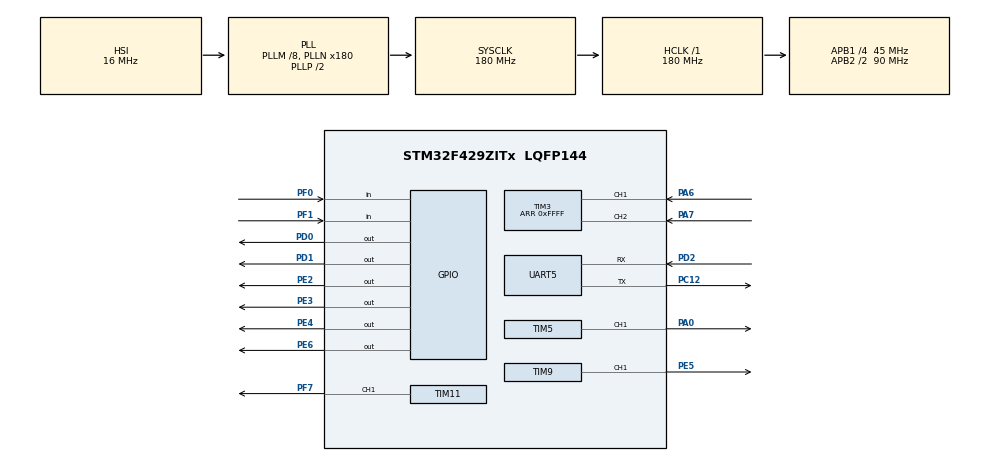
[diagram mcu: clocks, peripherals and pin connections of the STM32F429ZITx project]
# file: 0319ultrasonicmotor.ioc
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Mcu.Family=STM32F4
Mcu.Name=STM32F429ZITx
Mcu.Package=LQFP144
NVIC.PriorityGroup=NVIC_PRIORITYGROUP_4
NVIC.TIM1_BRK_TIM9_IRQn=true\:0\:0\:false\:false\:true\:true\:true\:true
PA0/WKUP.Signal=S_TIM5_CH1
PA6.Signal=S_TIM3_CH1
PA7.Signal=S_TIM3_CH2
PC12.Mode=Asynchronous
PC12.Signal=UART5_TX
PC14/OSC32_IN.Mode=LSE-External-Oscillator
PC14/OSC32_IN.Signal=RCC_OSC32_IN
PC15/OSC32_OUT.Mode=LSE-External-Oscillator
PC15/OSC32_OUT.Signal=RCC_OSC32_OUT
PD0.Signal=GPIO_Output
PD1.Signal=GPIO_Output
PD2.Mode=Asynchronous
PD2.Signal=UART5_RX
PE2.GPIO_Speed=GPIO_SPEED_FREQ_VERY_HIGH
PE2.Signal=GPIO_Output
PE3.GPIO_Speed=GPIO_SPEED_FREQ_VERY_HIGH
PE3.Signal=GPIO_Output
PE4.GPIO_Speed=GPIO_SPEED_FREQ_VERY_HIGH
PE4.PinState=GPIO_PIN_RESET
PE4.Signal=GPIO_Output
PE5.Signal=S_TIM9_CH1
PE6.GPIO_Speed=GPIO_SPEED_FREQ_VERY_HIGH
PE6.Signal=GPIO_Output
PF0.Signal=GPIO_Input
PF1.Signal=GPIO_Input
PF7.Signal=S_TIM11_CH1
ProjectManager.HeapSize=0x200
ProjectManager.StackSize=0x400
ProjectManager.TargetToolchain=MDK-ARM V5.32
RCC.48MHZClocksFreq_Value=51428571.428571425
RCC.AHBFreq_Value=180000000
RCC.APB1CLKDivider=RCC_HCLK_DIV4
RCC.APB1Freq_Value=45000000
RCC.APB1TimFreq_Value=90000000
RCC.APB2CLKDivider=RCC_HCLK_DIV2
RCC.APB2Freq_Value=90000000
RCC.APB2TimCLKDivider=2
RCC.APB2TimFreq_Value=180000000
RCC.CortexFreq_Value=180000000
RCC.HCLKFreq_Value=180000000
RCC.HSE_VALUE=8000000
RCC.HSI_VALUE=16000000
RCC.PLLM=8
RCC.PLLMUL=RCC_PLL_MUL9
RCC.PLLN=180
RCC.PLLQ=7
RCC.PRESCALERUSB=RCC_USBCLKSOURCE_PLL_DIV1_5
RCC.SYSCLKFreq_VALUE=180000000
RCC.SYSCLKSource=RCC_SYSCLKSOURCE_PLLCLK
RCC.SYSCLKSourceVirtual=RCC_SYSCLKSOURCE_PLLCLK
RCC.USBFreq_Value=48000000
RCC.VCOOutputFreq_Value=360000000
SH.S_TIM11_CH1.0=TIM11_CH1,PWM Generation1 CH1
SH.S_TIM3_CH1.0=TIM3_CH1,Encoder_Interface
SH.S_TIM3_CH2.0=TIM3_CH2,Encoder_Interface
SH.S_TIM5_CH1.0=TIM5_CH1,PWM Generation1 CH1
SH.S_TIM9_CH1.0=TIM9_CH1,PWM Generation1 CH1
TIM11.Channel=TIM_CHANNEL_1
TIM11.Prescaler=84-1
TIM3.EncoderMode=TIM_ENCODERMODE_TI12
TIM3.IC1Filter=5
TIM3.IC2Filter=5
TIM3.Period=0xFFFF
TIM5.Channel-PWM\ Generation1\ CH1=TIM_CHANNEL_1
TIM5.Period=10000-1
TIM5.Prescaler=84-1
TIM5.Pulse-PWM\ Generation1\ CH1=5000
TIM9.AutoReloadPreload=TIM_AUTORELOAD_PRELOAD_DISABLE
TIM9.Channel-PWM\ Generation1\ CH1=TIM_CHANNEL_1
TIM9.Period=10000-1
TIM9.Prescaler=84-1
TIM9.Pulse-PWM\ Generation1\ CH1=5000
UART5.VirtualMode=Asynchronous
VP_RTC_VS_RTC_Activate.Mode=RTC_Enabled
VP_TIM10_VS_ClockSourceINT.Mode=Enable_Timer
VP_TIM11_VS_ClockSourceINT.Mode=Enable_Timer
VP_TIM5_VS_ClockSourceINT.Mode=Internal
VP_TIM9_VS_ClockSourceINT.Mode=Internal
board=NUCLEO-F429ZI

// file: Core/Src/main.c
/* USER CODE BEGIN Header */
/**
  ******************************************************************************
  * @file           : main.c
  * @brief          : Main program body
  ******************************************************************************
  * @attention
  *
  * Copyright (c) 2022 STMicroelectronics.
  * All rights reserved.
  *
  * This software is licensed under terms that can be found in the LICENSE file
  * in the root directory of this software component.
  * If no LICENSE file comes with this software, it is provided AS-IS.
  *
  ******************************************************************************
  */
/* USER CODE END Header */
#include "main.h"

RTC_HandleTypeDef hrtc;

TIM_HandleTypeDef htim3;
TIM_HandleTypeDef htim5;
TIM_HandleTypeDef htim9;
TIM_HandleTypeDef htim10;
TIM_HandleTypeDef htim11;

UART_HandleTypeDef huart5;

/* USER CODE BEGIN PV */
		#define DcMotor1Enable() HAL_GPIO_WritePin(GPIOE, GPIO_PIN_2,0)
		#define DcMotor1Disable() HAL_GPIO_WritePin(GPIOE, GPIO_PIN_2,1)
		#define DcMotor1DirCw() HAL_GPIO_WritePin(GPIOE, GPIO_PIN_3,0)
		#define DcMotor1DirCcw() HAL_GPIO_WritePin(GPIOE, GPIO_PIN_3,1)

		#define DcMotor1DirCw1() HAL_GPIO_WritePin(GPIOE, GPIO_PIN_4,0)
		#define DcMotor1DirCw2() HAL_GPIO_WritePin(GPIOE, GPIO_PIN_4,1)
		#define DcMotor1DirCcw1() HAL_GPIO_WritePin(GPIOE, GPIO_PIN_6,0)
		#define DcMotor1DirCcw2() HAL_GPIO_WritePin(GPIOE, GPIO_PIN_6,1)

		// Cw1 -> pin4->0
		// Cw2 -> pin4->1
		// Ccw1 -> pin6->0
		// Ccw2 -> pin6->1
/* USER CODE END PV */

void SystemClock_Config(void);
static void MX_GPIO_Init(void);
static void MX_TIM9_Init(void);
static void MX_TIM10_Init(void);
static void MX_TIM11_Init(void);
static void MX_TIM3_Init(void);
static void MX_RTC_Init(void);
static void MX_TIM5_Init(void);

static void MX_UART5_Init(void);

/* USER CODE BEGIN 0 */

uint16_t counter_time, sensor_time;
int distance;

void delay_us(uint16_t delay){
	__HAL_TIM_SET_COUNTER(&htim11,0);
	while(__HAL_TIM_GET_COUNTER(&htim11)<delay);
}

uint16_t hc_sr04_read (void){
	counter_time = 0;
	HAL_GPIO_WritePin(GPIOD, GPIO_PIN_0,0);
	delay_us(2);
	HAL_GPIO_WritePin(GPIOD, GPIO_PIN_0,1);
	delay_us(10);
	HAL_GPIO_WritePin(GPIOD, GPIO_PIN_0,0);

	while(!HAL_GPIO_ReadPin(GPIOF, GPIO_PIN_0));
	while(HAL_GPIO_ReadPin(GPIOF, GPIO_PIN_0)){
	counter_time++;
		delay_us(1);
	}
	return counter_time;
}

/* USER CODE END 0 */

int main(void)
{

  /* MCU Configuration--------------------------------------------------------*/

  /* Reset of all peripherals, Initializes the Flash interface and the Systick. */
  HAL_Init();

  /* Configure the system clock */
  SystemClock_Config();

  /* Initialize all configured peripherals */
  MX_GPIO_Init();
  MX_TIM9_Init();
  MX_TIM10_Init();
  MX_TIM11_Init();
  MX_TIM3_Init();
  MX_RTC_Init();
  MX_TIM5_Init();
  MX_UART5_Init();
  /* USER CODE BEGIN 2 */
	HAL_TIM_Base_Start(&htim11);
	uint8_t data;
	HAL_TIM_PWM_Start(&htim9, TIM_CHANNEL_1);
	HAL_TIM_PWM_Start(&htim5, TIM_CHANNEL_1);

  /* USER CODE END 2 */

  /* Infinite loop */
  /* USER CODE BEGIN WHILE */
  while (1)
  {

		sensor_time = hc_sr04_read();
		distance = (float)sensor_time * 0.017;
		HAL_Delay(200);

		DcMotor1Enable(); // Bin->0

		if(distance>120)//inch
		{
		DcMotor1DirCcw(); // Ain->1
		DcMotor1Enable(); // Bin->0

			if(distance>200)
			{
				DcMotor1DirCcw(); // AIN -> 1
		    DcMotor1Disable(); // Bin ->1
			}

		}
		else if(distance<45)
		{
		DcMotor1DirCw(); // AIN -> 0
		DcMotor1Disable(); // Bin->1
		}
		else
		{
		DcMotor1DirCcw(); // AIN -> 1
		DcMotor1Disable(); // Bin ->1
		}

		TIM9->CCR1=7700; //(PWM) //CCR1 RIGHT

		HAL_UART_Receive(&huart5, &data, sizeof(data),10);

		if( data =='1')
		{
			DcMotor1DirCw2();
			DcMotor1DirCcw1();
		}

		else if( data =='2')
		{
			DcMotor1DirCw1();
			DcMotor1DirCcw2();
		}

		else
		{
			DcMotor1DirCw2();
			DcMotor1DirCcw2();
		}

		// Cw1 -> pin4->0
		// Cw2 -> pin4->1
		// Ccw1 -> pin6->0
		// Ccw2 -> pin6->1

		TIM5->CCR1=2700;

    /* USER CODE END WHILE */

  }
}

void SystemClock_Config(void)
{
  RCC_OscInitTypeDef RCC_OscInitStruct = {0};
  RCC_ClkInitTypeDef RCC_ClkInitStruct = {0};

  /** Configure the main internal regulator output voltage
  */
  __HAL_RCC_PWR_CLK_ENABLE();
  __HAL_PWR_VOLTAGESCALING_CONFIG(PWR_REGULATOR_VOLTAGE_SCALE1);
  /** Initializes the RCC Oscillators according to the specified parameters
  * in the RCC_OscInitTypeDef structure.
  */
  RCC_OscInitStruct.OscillatorType = RCC_OSCILLATORTYPE_HSI|RCC_OSCILLATORTYPE_LSI;
  RCC_OscInitStruct.HSIState = RCC_HSI_ON;
  RCC_OscInitStruct.HSICalibrationValue = RCC_HSICALIBRATION_DEFAULT;
  RCC_OscInitStruct.LSIState = RCC_LSI_ON;
  RCC_OscInitStruct.PLL.PLLState = RCC_PLL_ON;
  RCC_OscInitStruct.PLL.PLLSource = RCC_PLLSOURCE_HSI;
  RCC_OscInitStruct.PLL.PLLM = 8;
  RCC_OscInitStruct.PLL.PLLN = 180;
  RCC_OscInitStruct.PLL.PLLP = RCC_PLLP_DIV2;
  RCC_OscInitStruct.PLL.PLLQ = 7;
  if (HAL_RCC_OscConfig(&RCC_OscInitStruct) != HAL_OK)
  {
    Error_Handler();
  }
  /** Activate the Over-Drive mode
  */
  if (HAL_PWREx_EnableOverDrive() != HAL_OK)
  {
    Error_Handler();
  }
  /** Initializes the CPU, AHB and APB buses clocks
  */
  RCC_ClkInitStruct.ClockType = RCC_CLOCKTYPE_HCLK|RCC_CLOCKTYPE_SYSCLK
                              |RCC_CLOCKTYPE_PCLK1|RCC_CLOCKTYPE_PCLK2;
  RCC_ClkInitStruct.SYSCLKSource = RCC_SYSCLKSOURCE_PLLCLK;
  RCC_ClkInitStruct.AHBCLKDivider = RCC_SYSCLK_DIV1;
  RCC_ClkInitStruct.APB1CLKDivider = RCC_HCLK_DIV4;
  RCC_ClkInitStruct.APB2CLKDivider = RCC_HCLK_DIV2;

  if (HAL_RCC_ClockConfig(&RCC_ClkInitStruct, FLASH_LATENCY_5) != HAL_OK)
  {
    Error_Handler();
  }
}

static void MX_RTC_Init(void)
{

  /** Initialize RTC Only
  */
  hrtc.Instance = RTC;
  hrtc.Init.HourFormat = RTC_HOURFORMAT_24;
  hrtc.Init.AsynchPrediv = 127;
  hrtc.Init.SynchPrediv = 255;
  hrtc.Init.OutPut = RTC_OUTPUT_DISABLE;
  hrtc.Init.OutPutPolarity = RTC_OUTPUT_POLARITY_HIGH;
  hrtc.Init.OutPutType = RTC_OUTPUT_TYPE_OPENDRAIN;
  if (HAL_RTC_Init(&hrtc) != HAL_OK)
  {
    Error_Handler();
  }

}

static void MX_TIM3_Init(void)
{

  TIM_Encoder_InitTypeDef sConfig = {0};
  TIM_MasterConfigTypeDef sMasterConfig = {0};

  htim3.Instance = TIM3;
  htim3.Init.Prescaler = 0;
  htim3.Init.CounterMode = TIM_COUNTERMODE_UP;
  htim3.Init.Period = 0xFFFF;
  htim3.Init.ClockDivision = TIM_CLOCKDIVISION_DIV1;
  htim3.Init.AutoReloadPreload = TIM_AUTORELOAD_PRELOAD_DISABLE;
  sConfig.EncoderMode = TIM_ENCODERMODE_TI12;
  sConfig.IC1Polarity = TIM_ICPOLARITY_RISING;
  sConfig.IC1Selection = TIM_ICSELECTION_DIRECTTI;
  sConfig.IC1Prescaler = TIM_ICPSC_DIV1;
  sConfig.IC1Filter = 5;
  sConfig.IC2Polarity = TIM_ICPOLARITY_RISING;
  sConfig.IC2Selection = TIM_ICSELECTION_DIRECTTI;
  sConfig.IC2Prescaler = TIM_ICPSC_DIV1;
  sConfig.IC2Filter = 5;
  if (HAL_TIM_Encoder_Init(&htim3, &sConfig) != HAL_OK)
  {
    Error_Handler();
  }
  sMasterConfig.MasterOutputTrigger = TIM_TRGO_RESET;
  sMasterConfig.MasterSlaveMode = TIM_MASTERSLAVEMODE_DISABLE;
  if (HAL_TIMEx_MasterConfigSynchronization(&htim3, &sMasterConfig) != HAL_OK)
  {
    Error_Handler();
  }

}

static void MX_TIM5_Init(void)
{

  TIM_ClockConfigTypeDef sClockSourceConfig = {0};
  TIM_MasterConfigTypeDef sMasterConfig = {0};
  TIM_OC_InitTypeDef sConfigOC = {0};

  htim5.Instance = TIM5;
  htim5.Init.Prescaler = 84-1;
  htim5.Init.CounterMode = TIM_COUNTERMODE_UP;
  htim5.Init.Period = 10000-1;
  htim5.Init.ClockDivision = TIM_CLOCKDIVISION_DIV1;
  htim5.Init.AutoReloadPreload = TIM_AUTORELOAD_PRELOAD_DISABLE;
  if (HAL_TIM_Base_Init(&htim5) != HAL_OK)
  {
    Error_Handler();
  }
  sClockSourceConfig.ClockSource = TIM_CLOCKSOURCE_INTERNAL;
  if (HAL_TIM_ConfigClockSource(&htim5, &sClockSourceConfig) != HAL_OK)
  {
    Error_Handler();
  }
  if (HAL_TIM_PWM_Init(&htim5) != HAL_OK)
  {
    Error_Handler();
  }
  sMasterConfig.MasterOutputTrigger = TIM_TRGO_RESET;
  sMasterConfig.MasterSlaveMode = TIM_MASTERSLAVEMODE_DISABLE;
  if (HAL_TIMEx_MasterConfigSynchronization(&htim5, &sMasterConfig) != HAL_OK)
  {
    Error_Handler();
  }
  sConfigOC.OCMode = TIM_OCMODE_PWM1;
  sConfigOC.Pulse = 5000;
  sConfigOC.OCPolarity = TIM_OCPOLARITY_HIGH;
  sConfigOC.OCFastMode = TIM_OCFAST_DISABLE;
  if (HAL_TIM_PWM_ConfigChannel(&htim5, &sConfigOC, TIM_CHANNEL_1) != HAL_OK)
  {
    Error_Handler();
  }
  HAL_TIM_MspPostInit(&htim5);

}

static void MX_TIM9_Init(void)
{

  TIM_ClockConfigTypeDef sClockSourceConfig = {0};
  TIM_OC_InitTypeDef sConfigOC = {0};

  htim9.Instance = TIM9;
  htim9.Init.Prescaler = 84-1;
  htim9.Init.CounterMode = TIM_COUNTERMODE_UP;
  htim9.Init.Period = 10000-1;
  htim9.Init.ClockDivision = TIM_CLOCKDIVISION_DIV1;
  htim9.Init.AutoReloadPreload = TIM_AUTORELOAD_PRELOAD_DISABLE;
  if (HAL_TIM_Base_Init(&htim9) != HAL_OK)
  {
    Error_Handler();
  }
  sClockSourceConfig.ClockSource = TIM_CLOCKSOURCE_INTERNAL;
  if (HAL_TIM_ConfigClockSource(&htim9, &sClockSourceConfig) != HAL_OK)
  {
    Error_Handler();
  }
  if (HAL_TIM_PWM_Init(&htim9) != HAL_OK)
  {
    Error_Handler();
  }
  sConfigOC.OCMode = TIM_OCMODE_PWM1;
  sConfigOC.Pulse = 5000;
  sConfigOC.OCPolarity = TIM_OCPOLARITY_HIGH;
  sConfigOC.OCFastMode = TIM_OCFAST_DISABLE;
  if (HAL_TIM_PWM_ConfigChannel(&htim9, &sConfigOC, TIM_CHANNEL_1) != HAL_OK)
  {
    Error_Handler();
  }
  HAL_TIM_MspPostInit(&htim9);

}

static void MX_TIM10_Init(void)
{

  htim10.Instance = TIM10;
  htim10.Init.Prescaler = 0;
  htim10.Init.CounterMode = TIM_COUNTERMODE_UP;
  htim10.Init.Period = 65535;
  htim10.Init.ClockDivision = TIM_CLOCKDIVISION_DIV1;
  htim10.Init.AutoReloadPreload = TIM_AUTORELOAD_PRELOAD_DISABLE;
  if (HAL_TIM_Base_Init(&htim10) != HAL_OK)
  {
    Error_Handler();
  }

}

static void MX_TIM11_Init(void)
{

  TIM_OC_InitTypeDef sConfigOC = {0};

  htim11.Instance = TIM11;
  htim11.Init.Prescaler = 84-1;
  htim11.Init.CounterMode = TIM_COUNTERMODE_UP;
  htim11.Init.Period = 65535;
  htim11.Init.ClockDivision = TIM_CLOCKDIVISION_DIV1;
  htim11.Init.AutoReloadPreload = TIM_AUTORELOAD_PRELOAD_DISABLE;
  if (HAL_TIM_Base_Init(&htim11) != HAL_OK)
  {
    Error_Handler();
  }
  if (HAL_TIM_PWM_Init(&htim11) != HAL_OK)
  {
    Error_Handler();
  }
  sConfigOC.OCMode = TIM_OCMODE_PWM1;
  sConfigOC.Pulse = 0;
  sConfigOC.OCPolarity = TIM_OCPOLARITY_HIGH;
  sConfigOC.OCFastMode = TIM_OCFAST_DISABLE;
  if (HAL_TIM_PWM_ConfigChannel(&htim11, &sConfigOC, TIM_CHANNEL_1) != HAL_OK)
  {
    Error_Handler();
  }
  HAL_TIM_MspPostInit(&htim11);

}

static void MX_UART5_Init(void)
{

  huart5.Instance = UART5;
  huart5.Init.BaudRate = 115200;
  huart5.Init.WordLength = UART_WORDLENGTH_8B;
  huart5.Init.StopBits = UART_STOPBITS_1;
  huart5.Init.Parity = UART_PARITY_NONE;
  huart5.Init.Mode = UART_MODE_TX_RX;
  huart5.Init.HwFlowCtl = UART_HWCONTROL_NONE;
  huart5.Init.OverSampling = UART_OVERSAMPLING_16;
  if (HAL_UART_Init(&huart5) != HAL_OK)
  {
    Error_Handler();
  }

}

static void MX_GPIO_Init(void)
{
  GPIO_InitTypeDef GPIO_InitStruct = {0};

  /* GPIO Ports Clock Enable */
  __HAL_RCC_GPIOE_CLK_ENABLE();
  __HAL_RCC_GPIOC_CLK_ENABLE();
  __HAL_RCC_GPIOF_CLK_ENABLE();
  __HAL_RCC_GPIOA_CLK_ENABLE();
  __HAL_RCC_GPIOD_CLK_ENABLE();

  /*Configure GPIO pin Output Level */
  HAL_GPIO_WritePin(GPIOE, GPIO_PIN_2|GPIO_PIN_3|GPIO_PIN_4|GPIO_PIN_6, GPIO_PIN_RESET);

  /*Configure GPIO pin Output Level */
  HAL_GPIO_WritePin(GPIOD, GPIO_PIN_0|GPIO_PIN_1, GPIO_PIN_RESET);

  /*Configure GPIO pins : PE2 PE3 PE4 PE6 */
  GPIO_InitStruct.Pin = GPIO_PIN_2|GPIO_PIN_3|GPIO_PIN_4|GPIO_PIN_6;
  GPIO_InitStruct.Mode = GPIO_MODE_OUTPUT_PP;
  GPIO_InitStruct.Pull = GPIO_NOPULL;
  GPIO_InitStruct.Speed = GPIO_SPEED_FREQ_VERY_HIGH;
  HAL_GPIO_Init(GPIOE, &GPIO_InitStruct);

  /*Configure GPIO pins : PF0 PF1 */
  GPIO_InitStruct.Pin = GPIO_PIN_0|GPIO_PIN_1;
  GPIO_InitStruct.Mode = GPIO_MODE_INPUT;
  GPIO_InitStruct.Pull = GPIO_NOPULL;
  HAL_GPIO_Init(GPIOF, &GPIO_InitStruct);

  /*Configure GPIO pins : PD0 PD1 */
  GPIO_InitStruct.Pin = GPIO_PIN_0|GPIO_PIN_1;
  GPIO_InitStruct.Mode = GPIO_MODE_OUTPUT_PP;
  GPIO_InitStruct.Pull = GPIO_NOPULL;
  GPIO_InitStruct.Speed = GPIO_SPEED_FREQ_LOW;
  HAL_GPIO_Init(GPIOD, &GPIO_InitStruct);

}

void Error_Handler(void)
{
  __disable_irq();
  while (1)
  {
  }
}
